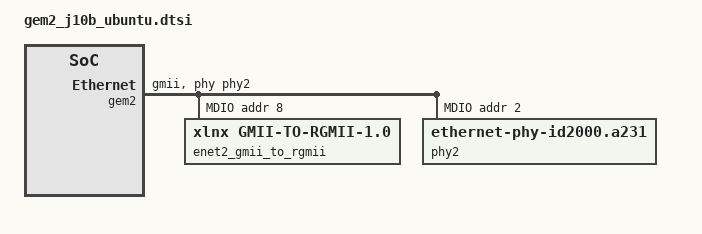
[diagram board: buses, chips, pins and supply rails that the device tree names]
/* Qiita GEM2/J10B topology for the Ubuntu kernel DT. */

&gem2 {
	status = "okay";
	phy-mode = "gmii";
	phy-handle = <&phy2>;

	mdio {
		#address-cells = <1>;
		#size-cells = <0>;

		enet2_gmii_to_rgmii: ethernet-phy@8 {
			compatible = "xlnx,gmii-to-rgmii-1.0";
			reg = <8>;
			phy-handle = <&phy2>;
		};

		phy2: ethernet-phy@2 {
			compatible = "ethernet-phy-id2000.a231";
			reg = <2>;
			ti,dp83867-rxctrl-strap-quirk;
			ti,fifo-depth = <1>;
			ti,tx-internal-delay = <4>;
			ti,rx-internal-delay = <4>;
		};
	};
};
